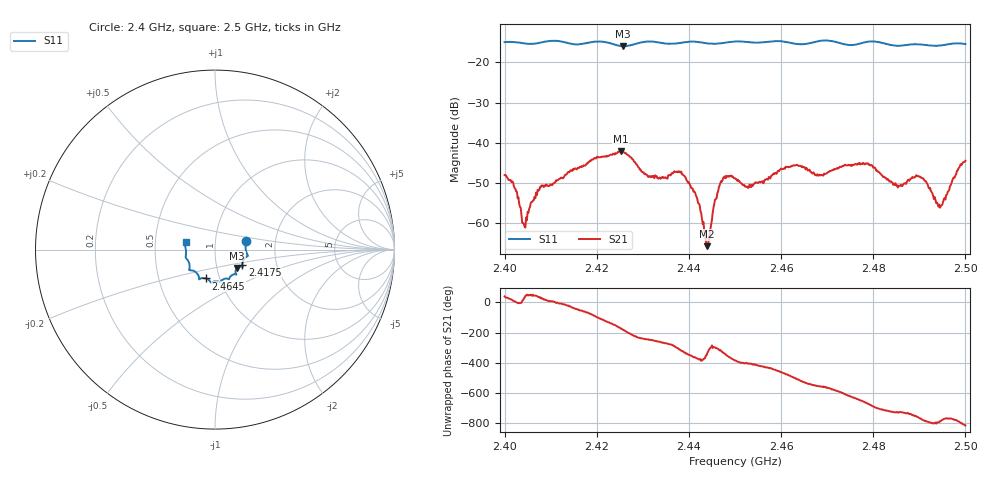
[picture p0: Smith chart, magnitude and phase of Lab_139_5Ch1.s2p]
# Hz S RI R 50
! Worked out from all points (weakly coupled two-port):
!   601 points, 2.4 GHz to 2.5 GHz, reference 50 ohm
!   highest |S21| = -42.20 dB at 2.4252 GHz (marker M1); lowest = -65.8 dB at 2.4438 GHz (marker M2)
!   lowest |S11| = -15.9 dB at 2.4257 GHz (marker M3), VSWR 1.38, Z = 62.5 - j13.1 ohm
!   |S11| at or under -10 dB: start of sweep to end of sweep
!   S12 and S22 are empty: the file has one direction only
!   S11 on the Smith chart (normalised r, x): 2.4 GHz: 1.41, +0.14; 2.4175 GHz: 1.34, -0.23; 2.4645 GHz: 0.86, -0.28; 2.5 GHz: 0.72, +0.06
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2.4e9  0.1727 0.0485  0.00299 0.00256  0 0  0 0
2.402167e9  0.1751 0.0392  0.00269 0.000365  0 0  0 0
2.404333e9  0.1714 0.0216  0.000763 0.000473  0 0  0 0
2.407667e9  0.1757 -0.0169  0.00238 0.00144  0 0  0 0
2.416667e9  0.1529 -0.074  0.00302 -0.00409  0 0  0 0
2.4175e9  0.1519 -0.0833  0.00242 -0.00457  0 0  0 0
2.425167e9  0.1265 -0.099  -0.00767 -0.00119  0 0  0 0
2.425667e9  0.1226 -0.1021  -0.00759 0.000168  0 0  0 0
2.433333e9  0.1131 -0.1373  -0.000583 0.00351  0 0  0 0
2.438833e9  0.0803 -0.1585  0.00335 0.00199  0 0  0 0
2.441833e9  0.075 -0.1647  0.00191 -0.000446  0 0  0 0
2.443833e9  0.0646 -0.1612  0.000505 7.73e-05  0 0  0 0
2.447e9  0.0405 -0.1688  0.00262 0.00202  0 0  0 0
2.45e9  0.0287 -0.1808  0.00322 -0.00159  0 0  0 0
2.453e9  0.0174 -0.1781  0.00189 -0.002  0 0  0 0
2.4645e9  -0.0519 -0.1606  -0.00475 -0.00129  0 0  0 0
2.466667e9  -0.0759 -0.1594  -0.00416 0.000471  0 0  0 0
2.478333e9  -0.1375 -0.1152  0.00315 0.00441  0 0  0 0
2.483333e9  -0.1412 -0.0902  0.00342 -0.000146  0 0  0 0
2.490333e9  -0.1632 -0.0385  0.00229 -0.00285  0 0  0 0
2.4945e9  -0.1627 0.00395  0.000557 -0.00144  0 0  0 0
2.5e9  -0.1638 0.0434  -0.000774 -0.00589  0 0  0 0
